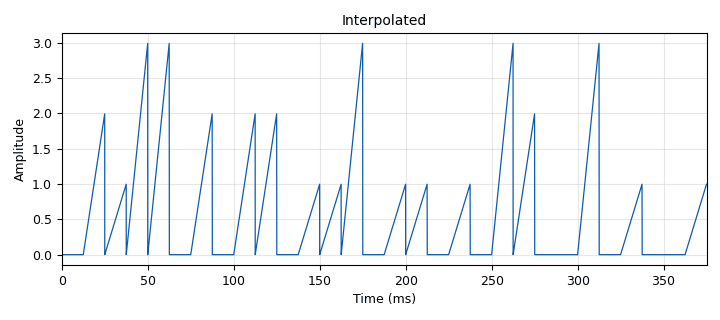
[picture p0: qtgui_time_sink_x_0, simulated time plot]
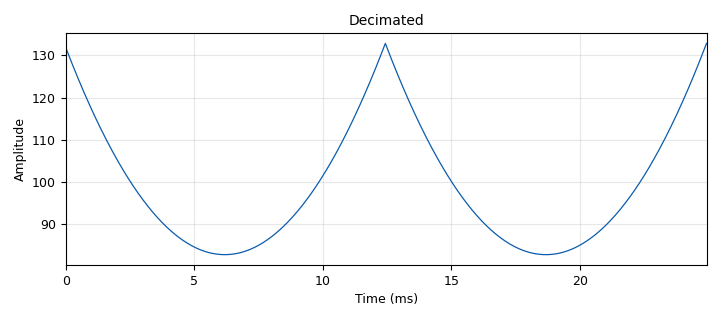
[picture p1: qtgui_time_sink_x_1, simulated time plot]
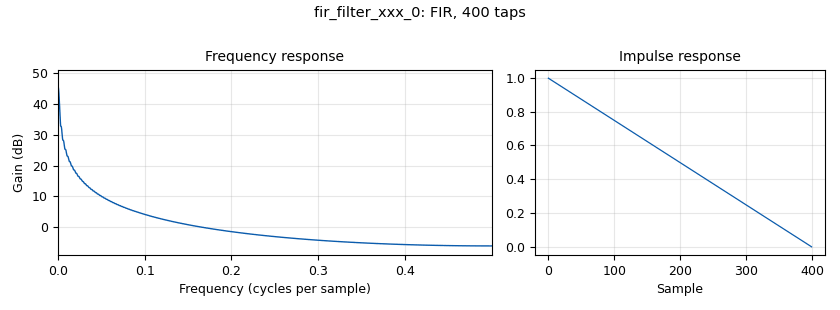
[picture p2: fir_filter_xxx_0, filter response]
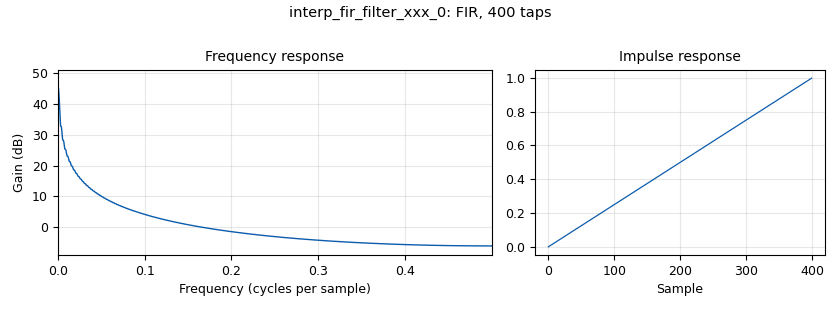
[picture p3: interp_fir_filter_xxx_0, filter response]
options:
  parameters:
    author: p
    generate_options: qt_gui
    id: wee5_lecture25
    output_language: python
    title: Not titled yet
  states: {}

blocks:
- name: M
  id: variable
  parameters:
    value: '400'
  states: {}
- name: delay
  id: variable_qtgui_range
  parameters:
    start: '0'
    step: '1'
    stop: M
    value: '0'
  states: {}
- name: mypulse
  id: variable
  parameters:
    value: np.arange(M)/M
  states: {}
- name: samp_rate
  id: variable
  parameters:
    value: '32000'
  states: {}
- name: variable_0
  id: variable
  parameters:
    value: '0'
  states: {}
- name: analog_random_source_x_0
  id: analog_random_source_x
  parameters:
    max: '4'
    min: '0'
    num_samps: '1000'
    repeat: 'True'
    type: int
  states: {}
- name: blocks_delay_0
  id: blocks_delay
  parameters:
    delay: delay
    type: float
  states: {}
- name: blocks_int_to_float_0
  id: blocks_int_to_float
  parameters:
    scale: '1'
  states: {}
- name: blocks_throttle2_0
  id: blocks_throttle2
  parameters:
    samples_per_second: samp_rate
    type: float
  states: {}
- name: blocks_vector_source_x_0
  id: blocks_vector_source_x
  parameters:
    repeat: 'True'
    type: float
    vector: mypulse
  states: {}
- name: fir_filter_xxx_0
  id: fir_filter_xxx
  parameters:
    decim: '1'
    taps: mypulse[::-1]
    type: fff
  states: {}
- name: import_0
  id: import
  parameters:
    imports: import numpy as np
  states: {}
- name: interp_fir_filter_xxx_0
  id: interp_fir_filter_xxx
  parameters:
    interp: '400'
    taps: mypulse
    type: fff
  states: {}
- name: qtgui_time_sink_x_0
  id: qtgui_time_sink_x
  parameters:
    autoscale: 'True'
    grid: 'True'
    name: Interpolated
    size: '12000'
    srate: samp_rate
    type: float
  states: {}
- name: qtgui_time_sink_x_1
  id: qtgui_time_sink_x
  parameters:
    autoscale: 'True'
    grid: 'True'
    name: Decimated
    size: '799'
    srate: samp_rate
    type: float
  states: {}

connections:
- [analog_random_source_x_0, '0', blocks_int_to_float_0, '0']
- [blocks_delay_0, '0', fir_filter_xxx_0, '0']
- [blocks_int_to_float_0, '0', interp_fir_filter_xxx_0, '0']
- [blocks_throttle2_0, '0', qtgui_time_sink_x_0, '0']
- [blocks_vector_source_x_0, '0', blocks_delay_0, '0']
- [fir_filter_xxx_0, '0', qtgui_time_sink_x_1, '0']
- [interp_fir_filter_xxx_0, '0', blocks_throttle2_0, '0']

metadata:
  file_format: 1
  grc_version: 3.10.7.0
